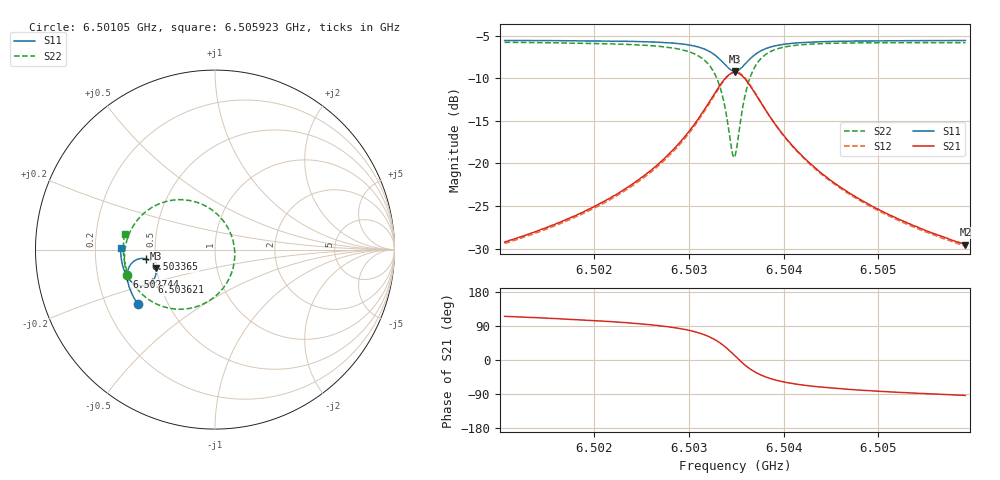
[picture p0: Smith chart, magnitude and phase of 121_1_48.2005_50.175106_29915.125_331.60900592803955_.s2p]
#  HZ  S  RI  R  50.00
! Rohde & Schwarz Vector Network Analyzer
! Rohde-Schwarz,ZNB20-2Port,1311601062101988,3.16
! Created: UTC 3/20/2024, 11:41:30 AM
! freq[Hz]  re:S11  im:S11  re:S21  im:S21  re:S12  im:S12  re:S22  im:S22
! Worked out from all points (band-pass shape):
!   401 points, 6.50105 GHz to 6.505923 GHz, reference 50 ohm
!   highest |S21| = -9.32 dB at 6.503487 GHz (marker M1); lowest = -29.5 dB at 6.505923 GHz (marker M2)
!   |S21| within 3 dB of the highest: 6.503242 GHz to 6.50373 GHz (487.6 kHz wide, 0.0075 % of centre)
!   lowest |S11| = -9.2 dB at 6.503487 GHz (marker M3), VSWR 2.06, Z = 24.7 - j5.83 ohm
!   |S11| at or under -10 dB: nowhere
!   |S22| runs from -19.3 to -5.8 dB; largest |S21 - S12| = 0.012
!   S11 on the Smith chart (normalised r, x): 6.50105 GHz: 0.34, -0.28; 6.502744 GHz: 0.33, -0.13; 6.503365 GHz: 0.44, -0.05; 6.503621 GHz: 0.45, -0.19; 6.505923 GHz: 0.31, +0.01
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6.5010504e9  -0.4309 -0.3024  -0.0147 0.0313  -0.013 0.0314  -0.4928 -0.1441
6.5018666e9  -0.4653 -0.2412  -0.0139 0.0496  -0.0115 0.0491  -0.5043 -0.0555
6.5022808e9  -0.4796 -0.2041  -0.0113 0.0675  -0.00822 0.0665  -0.5008 0.00466
6.5026829e9  -0.4888 -0.159  -0.00126 0.1001  0.00248 0.0976  -0.4788 0.0868
6.5027438e9  -0.4892 -0.1507  0.00221 0.1074  0.00577 0.1047  -0.4714 0.103
6.5029631e9  -0.4855 -0.1156  0.0245 0.1431  0.0283 0.1388  -0.4243 0.1742
6.5031215e9  -0.4703 -0.0833  0.0648 0.1794  0.0675 0.1735  -0.3462 0.2379
6.5032676e9  -0.4319 -0.0538  0.1479 0.2079  0.1485 0.2016  -0.1945 0.2783
6.5033164e9  -0.4103 -0.0492  0.191 0.2062  0.191 0.2004  -0.1188 0.2687
6.5033651e9  -0.3848 -0.0515  0.2404 0.1902  0.2403 0.1855  -0.0344 0.2327
6.5034504e9  -0.342 -0.0816  0.3186 0.1139  0.3211 0.1095  0.0902 0.0821
6.5034869e9  -0.3314 -0.104  0.3359 0.0643  0.3394 0.0588  0.1099 -0.0107
6.5035113e9  -0.3285 -0.1203  0.3387 0.0294  0.3428 0.0225  0.1064 -0.0748
6.5035479e9  -0.331 -0.1445  0.3308 -0.0209  0.3342 -0.03  0.0777 -0.164
6.5036209e9  -0.3537 -0.1815  0.2831 -0.0971  0.2829 -0.1088  -0.0345 -0.2864
6.5037306e9  -0.3996 -0.2014  0.1956 -0.1419  0.1901 -0.1518  -0.2121 -0.3317
6.503889e9  -0.4469 -0.192  0.1112 -0.1377  0.104 -0.1428  -0.3637 -0.2821
6.5040595e9  -0.4748 -0.1704  0.0655 -0.1164  0.059 -0.1188  -0.4374 -0.215
6.5043032e9  -0.4957 -0.1408  0.0348 -0.0911  0.0299 -0.0916  -0.4817 -0.1411
6.504693e9  -0.5121 -0.0994  0.0145 -0.0657  0.0113 -0.0652  -0.5052 -0.0611
6.5051194e9  -0.5208 -0.0596  0.0052 -0.0498  0.00288 -0.0491  -0.5107 0.000515
6.5059235e9  -0.526 0.00884  -0.00204 -0.0334  -0.00332 -0.0326  -0.5035 0.0876
